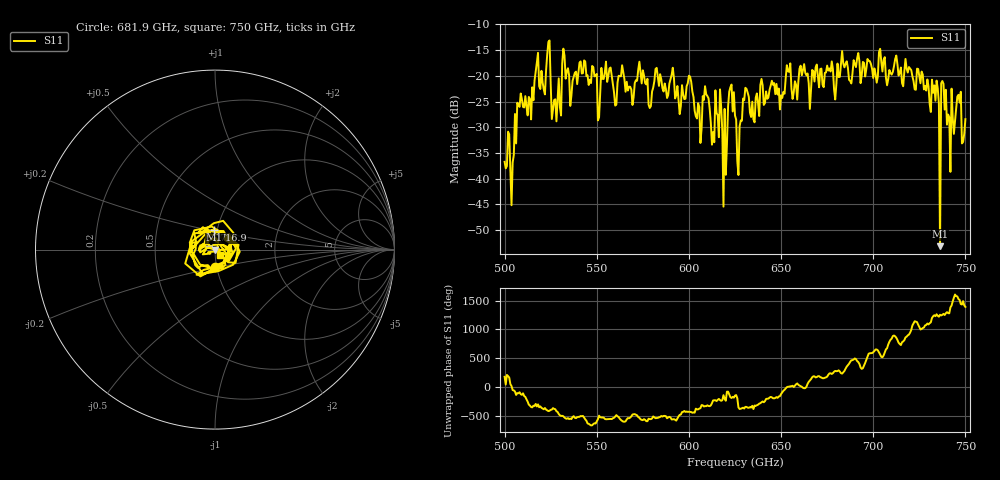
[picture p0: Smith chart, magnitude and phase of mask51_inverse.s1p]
!Created with skrf (http://scikit-rf.org).
# GHz S MA R 50.0
!freq magS11 angS11
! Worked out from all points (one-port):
!   401 points, 500 GHz to 750 GHz, reference 50 ohm
!   lowest |S11| = -53.1 dB at 736.2 GHz (marker M1), VSWR 1.00, Z = 49.8 + j0.0185 ohm
!   |S11| at or under -10 dB: start of sweep to end of sweep
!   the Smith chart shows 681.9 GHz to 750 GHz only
!   S11 on the Smith chart (normalised r, x): 681.9 GHz: 0.98, -0.19; 716.9 GHz: 0.96, +0.21; 750 GHz: 1.05, -0.06
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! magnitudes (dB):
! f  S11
! 500 GHz  -36.7
! 517.5 GHz  -17.4
! 523.8 GHz  -13.4
! 526.9 GHz  -24.7
! 531.2 GHz  -17.6
! 562.5 GHz  -20.0
! 593.8 GHz  -22.0
! 600.6 GHz  -20.1
! 605.6 GHz  -26.1
! 609.4 GHz  -23.6
! 612.5 GHz  -33.4
! 616.2 GHz  -31.9
! 619.4 GHz  -26.4
! 622.5 GHz  -22.2
! 625 GHz  -27.7
! 627.5 GHz  -29.8
! 630.6 GHz  -22.3
! 656.2 GHz  -24.5
! 681.9 GHz  -20.2
! 687.5 GHz  -21.0
! 716.9 GHz  -19.1
! 718.8 GHz  -19.4
! 733.8 GHz  -24.8
! 736.2 GHz  -53.1
! 738.1 GHz  -21.6
! 740.6 GHz  -27.5
! 746.2 GHz  -23.7
! 750 GHz  -28.4
